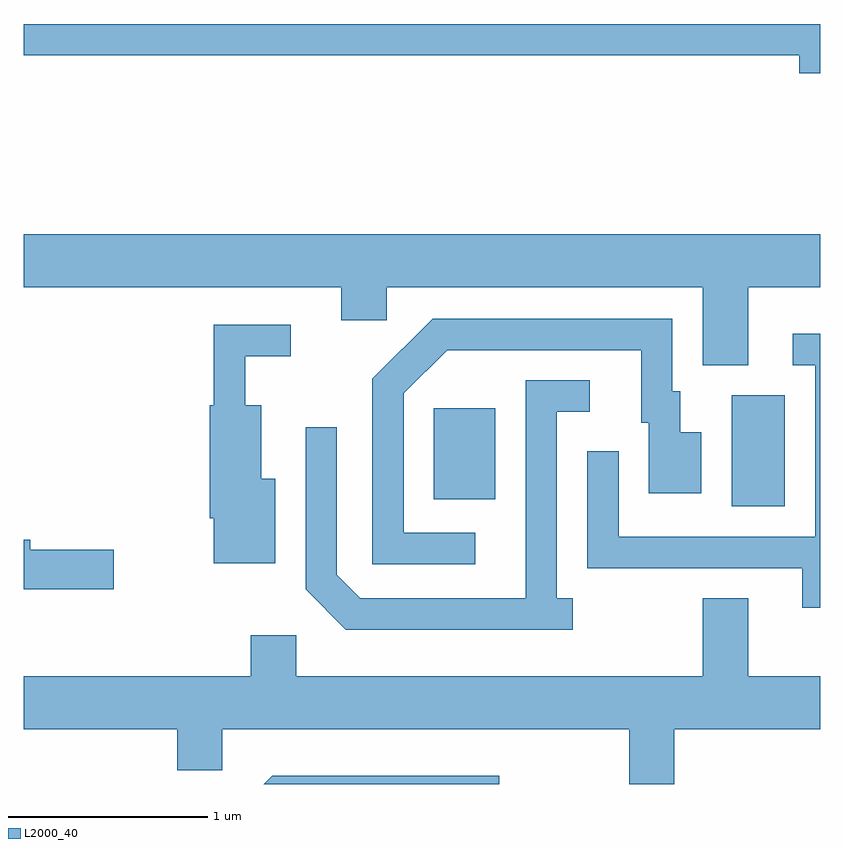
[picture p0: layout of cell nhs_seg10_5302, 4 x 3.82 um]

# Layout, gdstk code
import gdstk
lib = gdstk.Library(unit=1e-6, precision=1e-09)
def R(c, l, rs):  # rectangles x0, y0, x1, y1
    for r in rs: c.add(gdstk.rectangle(r[:2], r[2:], *l))
def P(c, l, *ps):  # polygons
    for p in ps: c.add(gdstk.Polygon(p, *l))
L2000_40 = (2000, 40)

nhs_seg10_5302 = lib.new_cell('nhs_seg10_5302')
R(nhs_seg10_5302, L2000_40, [(345.166,2123.916,345.434,2124.474), (343.671,2123.951,343.979,2124.409)])
P(nhs_seg10_5302, L2000_40, [(345.611,2126.339),(341.611,2126.339),(341.611,2126.181),(345.506,2126.181),(345.506,2126.091),(345.611,2126.091)],
  [(345.249,2125.016),(345.611,2125.016),(345.611,2125.284),(341.611,2125.284),(341.611,2125.016),(343.206,2125.016),(343.206,2124.851),(343.434,2124.851),(343.434,2125.016),(345.021,2125.016),(345.021,2124.626),(345.249,2124.626)],
  [(343.878,2123.784),(343.519,2123.784),(343.519,2124.484),(343.737,2124.701),(344.711,2124.701),(344.711,2124.336),(344.751,2124.336),(344.751,2123.981),(345.014,2123.981),(345.014,2124.289),(344.909,2124.289),(344.909,2124.494),(344.869,2124.494),(344.869,2124.859),(343.664,2124.859),(343.361,2124.557),(343.361,2123.626),(343.878,2123.626)],
  [(342.874,2124.054),(342.804,2124.054),(342.804,2124.424),(342.724,2124.424),(342.724,2124.671),(342.953,2124.671),(342.953,2124.829),(342.566,2124.829),(342.566,2124.424),(342.546,2124.424),(342.546,2123.856),(342.566,2123.856),(342.566,2123.631),(342.874,2123.631)],
  [(345.611,2124.784),(345.473,2124.784),(345.473,2124.626),(345.586,2124.626),(345.586,2123.764),(344.599,2123.764),(344.599,2124.193),(344.441,2124.193),(344.441,2123.606),(345.521,2123.606),(345.521,2123.406),(345.611,2123.406)],
  [(344.368,2123.454),(344.289,2123.454),(344.289,2124.391),(344.453,2124.391),(344.453,2124.549),(344.131,2124.549),(344.131,2123.454),(343.302,2123.454),(343.184,2123.572),(343.184,2124.313),(343.026,2124.313),(343.026,2123.499),(343.229,2123.296),(344.368,2123.296)],
  [(342.064,2123.699),(341.644,2123.699),(341.644,2123.749),(341.611,2123.749),(341.611,2123.501),(342.064,2123.501)],
  [(344.879,2122.796),(345.611,2122.796),(345.611,2123.064),(345.249,2123.064),(345.249,2123.454),(345.021,2123.454),(345.021,2123.064),(342.979,2123.064),(342.979,2123.269),(342.751,2123.269),(342.751,2123.064),(341.611,2123.064),(341.611,2122.796),(342.381,2122.796),(342.381,2122.591),(342.609,2122.591),(342.609,2122.796),(344.651,2122.796),(344.651,2122.522),(344.879,2122.522)],
  [(343.998,2122.564),(342.859,2122.564),(342.817,2122.522),(343.998,2122.522)])

lib.write_gds('nhs_seg10_5302.gds')
